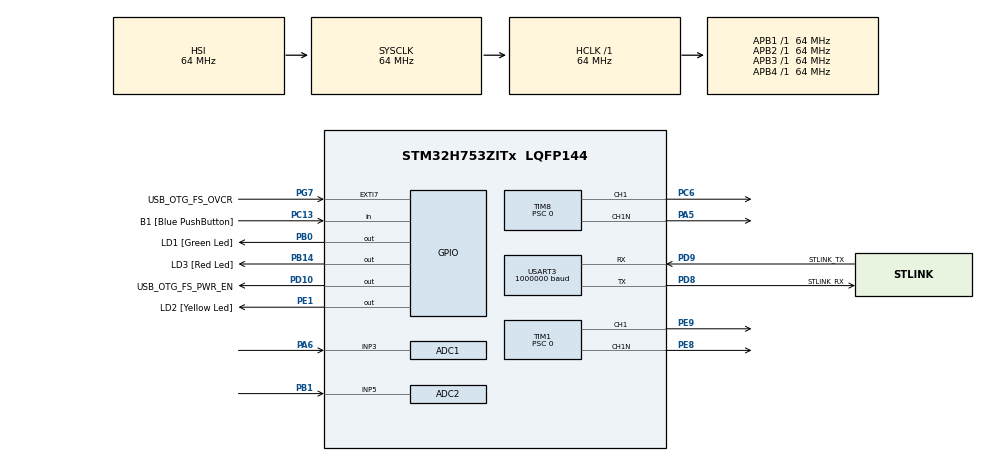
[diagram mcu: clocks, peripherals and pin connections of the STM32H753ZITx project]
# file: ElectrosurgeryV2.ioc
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ADC1.Channel-0\#ChannelRegularConversion=ADC_CHANNEL_3
ADC1.NbrOfConversion=1
ADC1.NbrOfConversionFlag=1
ADC1.OffsetNumber-0\#ChannelRegularConversion=ADC_OFFSET_NONE
ADC1.OffsetSignedSaturation-0\#ChannelRegularConversion=DISABLE
ADC1.Rank-0\#ChannelRegularConversion=1
ADC1.SamplingTime-0\#ChannelRegularConversion=ADC_SAMPLETIME_1CYCLE_5
ADC1.master=1
ADC2.Channel-1\#ChannelRegularConversion=ADC_CHANNEL_5
ADC2.NbrOfConversionFlag=1
ADC2.OffsetNumber-1\#ChannelRegularConversion=ADC_OFFSET_NONE
ADC2.OffsetSignedSaturation-1\#ChannelRegularConversion=DISABLE
ADC2.Rank-1\#ChannelRegularConversion=1
ADC2.SamplingTime-1\#ChannelRegularConversion=ADC_SAMPLETIME_1CYCLE_5
CORTEX_M7.CPU_DCache=Disabled
CORTEX_M7.CPU_ICache=Disabled
CORTEX_M7.MPU_Control=__NULL
FREERTOS.Tasks01=defaultTask,0,128,StartDefaultTask,Default,NULL,Dynamic,NULL,NULL;IdleTask,-3,128,runIdleTask,Default,NULL,Static,IdleTaskBuffer,IdleTaskControlBlock
Mcu.Family=STM32H7
Mcu.Name=STM32H753ZITx
Mcu.Package=LQFP144
NVIC.PriorityGroup=NVIC_PRIORITYGROUP_4
NVIC.TIM6_DAC_IRQn=true\:15\:0\:false\:false\:true\:false\:false\:true\:true
NVIC.TimeBase=TIM6_DAC_IRQn
NVIC.TimeBaseIP=TIM6
PA5.GPIO_PuPd=GPIO_PULLDOWN
PA5.Mode=PWM Generation1 CH1 CH1N
PA5.Signal=TIM8_CH1N
PA6.Signal=ADCx_INP3
PB0.GPIO_Label=LD1 [Green Led]
PB0.Signal=GPIO_Output
PB1.Signal=ADCx_INP5
PB14.GPIO_Label=LD3 [Red Led]
PB14.Signal=GPIO_Output
PC13.GPIO_Label=B1 [Blue PushButton]
PC13.Signal=GPIO_Input
PC14-OSC32_IN\ (OSC32_IN).Mode=LSE-External-Oscillator
PC14-OSC32_IN\ (OSC32_IN).Signal=RCC_OSC32_IN
PC15-OSC32_OUT\ (OSC32_OUT).Mode=LSE-External-Oscillator
PC15-OSC32_OUT\ (OSC32_OUT).Signal=RCC_OSC32_OUT
PC6.GPIO_PuPd=GPIO_PULLDOWN
PC6.Signal=S_TIM8_CH1
PD10.GPIO_Label=USB_OTG_FS_PWR_EN
PD10.Signal=GPIO_Output
PD8.GPIO_Label=STLINK_RX
PD8.Mode=Asynchronous
PD8.Signal=USART3_TX
PD9.GPIO_Label=STLINK_TX
PD9.Mode=Asynchronous
PD9.Signal=USART3_RX
PE1.GPIO_Label=LD2 [Yellow Led]
PE1.Signal=GPIO_Output
PE8.GPIO_PuPd=GPIO_PULLDOWN
PE8.Mode=PWM Generation1 CH1 CH1N
PE8.Signal=TIM1_CH1N
PE9.GPIO_PuPd=GPIO_PULLDOWN
PE9.Signal=S_TIM1_CH1
PG7.GPIO_Label=USB_OTG_FS_OVCR
PG7.Signal=GPXTI7
PH0-OSC_IN\ (PH0).Mode=HSE-External-Clock-Source
PH0-OSC_IN\ (PH0).Signal=RCC_OSC_IN
PH1-OSC_OUT\ (PH1).Signal=RCC_OSC_OUT
ProjectManager.HeapSize=0x200
ProjectManager.StackSize=0x400
ProjectManager.TargetToolchain=CMake
RCC.ADCFreq_Value=76000000
RCC.APB1Freq_Value=64000000
RCC.APB2Freq_Value=64000000
RCC.APB3Freq_Value=64000000
RCC.APB4Freq_Value=64000000
RCC.CortexFreq_Value=64000000
RCC.DIVM1=1
RCC.DIVM2=1
RCC.DIVN1=19
RCC.DIVN2=19
RCC.DIVQ1=3
RCC.HCLKFreq_Value=64000000
RCC.HSE_VALUE=8000000
RCC.PLL2FRACN=0
RCC.PLLFRACN=0
RCC.PLLSourceVirtual=RCC_PLLSOURCE_HSE
RCC.PWR_Regulator_Voltage_Scale=PWR_REGULATOR_VOLTAGE_SCALE2
RCC.SYSCLKFreq_VALUE=64000000
RCC.USBFreq_Value=50666666.666666664
SH.ADCx_INP3.0=ADC1_INP3,IN3-Single-Ended
SH.ADCx_INP5.0=ADC2_INP5,IN5-Single-Ended
SH.S_TIM1_CH1.0=TIM1_CH1,PWM Generation1 CH1 CH1N
SH.S_TIM8_CH1.0=TIM8_CH1,PWM Generation1 CH1 CH1N
TIM1.Channel-Output\ Compare2\ No\ Output=TIM_CHANNEL_2
TIM1.Channel-PWM\ Generation1\ CH1\ CH1N=TIM_CHANNEL_1
TIM1.DeadTime=4
TIM1.OC2Preload=DISABLE
TIM1.OCMode_2=TIM_OCMODE_ACTIVE
TIM1.Period=128
TIM1.Prescaler=0
TIM1.Pulse-Output\ Compare2\ No\ Output=16
TIM1.Pulse-PWM\ Generation1\ CH1\ CH1N=64
TIM1.TIM_MasterOutputTrigger=TIM_TRGO_OC2REF
TIM8.Channel-PWM\ Generation1\ CH1\ CH1N=TIM_CHANNEL_1
TIM8.DeadTime=4
TIM8.Period=128
TIM8.Prescaler=0
TIM8.Pulse-PWM\ Generation1\ CH1\ CH1N=64
USART3.BaudRate=1000000
USART3.VirtualMode-Asynchronous=VM_ASYNC
VP_FREERTOS_VS_CMSIS_V1.Mode=CMSIS_V1
VP_MEMORYMAP_VS_MEMORYMAP.Mode=CurAppReg
VP_SYS_VS_tim6.Mode=TIM6
VP_TIM1_VS_ClockSourceINT.Mode=Internal
VP_TIM1_VS_no_output2.Mode=Output Compare2 No Output
VP_TIM8_VS_ClockSourceINT.Mode=Internal
VP_TIM8_VS_ClockSourceITR.Mode=TriggerSource_ITR0
VP_TIM8_VS_ControllerModeTrigger.Mode=Trigger Mode
board=NUCLEO-H753ZI

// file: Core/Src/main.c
/* USER CODE BEGIN Header */
/**
  ******************************************************************************
  * @file           : main.c
  * @brief          : Main program body
  ******************************************************************************
  * @attention
  *
  * Copyright (c) 2025 STMicroelectronics.
  * All rights reserved.
  *
  * This software is licensed under terms that can be found in the LICENSE file
  * in the root directory of this software component.
  * If no LICENSE file comes with this software, it is provided AS-IS.
  *
  ******************************************************************************
  */
/* USER CODE END Header */
#include "main.h"
#include "cmsis_os.h"

/* USER CODE BEGIN Includes */
#include <stdio.h>
/* USER CODE END Includes */

ADC_HandleTypeDef hadc1;
ADC_HandleTypeDef hadc2;

TIM_HandleTypeDef htim1;
TIM_HandleTypeDef htim8;

UART_HandleTypeDef huart3;

osThreadId defaultTaskHandle;
osThreadId IdleTaskHandle;
uint32_t IdleTaskBuffer[ 128 ];
osStaticThreadDef_t IdleTaskControlBlock;

void SystemClock_Config(void);
void PeriphCommonClock_Config(void);
static void MX_GPIO_Init(void);
static void MX_TIM1_Init(void);
static void MX_TIM8_Init(void);
static void MX_ADC1_Init(void);
static void MX_ADC2_Init(void);
static void MX_USART3_UART_Init(void);
void StartDefaultTask(void const * argument);
void runIdleTask(void const * argument);

/* USER CODE BEGIN PFP */

#ifdef __GNUC__
#define PUTCHAR_PROTOTYPE int __io_putchar(int ch)
#define GETCHAR_PROTOTYPE int __io_getchar(void)
#else
#define PUTCHAR_PROTOTYPE int fputc(int ch, FILE *f)
#define GETCHAR_PROTOTYPE int fgetc(FILE *f)
#endif

PUTCHAR_PROTOTYPE
{
  HAL_UART_Transmit(&huart3, (uint8_t *)&ch, 1, HAL_MAX_DELAY);
  return ch;
}

GETCHAR_PROTOTYPE
{
  uint8_t ch = 0;

  /* Clear the Overrun flag just before receiving the first character */
  __HAL_UART_CLEAR_OREFLAG(&huart3);

  /* Wait for reception of a character on the USART RX line and echo this
   * character on console */
  HAL_UART_Receive(&huart3, (uint8_t *)&ch, 1, HAL_MAX_DELAY);
  HAL_UART_Transmit(&huart3, (uint8_t *)&ch, 1, HAL_MAX_DELAY);
  return ch;
}
/* USER CODE END PFP */

int main(void)
{

  /* MCU Configuration--------------------------------------------------------*/

  /* Reset of all peripherals, Initializes the Flash interface and the Systick. */
  HAL_Init();

  /* Configure the system clock */
  SystemClock_Config();

  /* Configure the peripherals common clocks */
  PeriphCommonClock_Config();

  /* Initialize all configured peripherals */
  MX_GPIO_Init();
  MX_TIM1_Init();
  MX_TIM8_Init();
  MX_ADC1_Init();
  MX_ADC2_Init();
  MX_USART3_UART_Init();

  /* Create the thread(s) */
  /* definition and creation of defaultTask */
  osThreadDef(defaultTask, StartDefaultTask, osPriorityNormal, 0, 128);
  defaultTaskHandle = osThreadCreate(osThread(defaultTask), NULL);

  /* definition and creation of IdleTask */
  osThreadStaticDef(IdleTask, runIdleTask, osPriorityIdle, 0, 128, IdleTaskBuffer, &IdleTaskControlBlock);
  IdleTaskHandle = osThreadCreate(osThread(IdleTask), NULL);

  /* Start scheduler */
  osKernelStart();

  /* We should never get here as control is now taken by the scheduler */

  /* Infinite loop */
  while (1)
  {

  }
}

void SystemClock_Config(void)
{
  RCC_OscInitTypeDef RCC_OscInitStruct = {0};
  RCC_ClkInitTypeDef RCC_ClkInitStruct = {0};

  /** Supply configuration update enable
  */
  HAL_PWREx_ConfigSupply(PWR_LDO_SUPPLY);

  /** Configure the main internal regulator output voltage
  */
  __HAL_PWR_VOLTAGESCALING_CONFIG(PWR_REGULATOR_VOLTAGE_SCALE2);

  while(!__HAL_PWR_GET_FLAG(PWR_FLAG_VOSRDY)) {}

  /** Macro to configure the PLL clock source
  */
  __HAL_RCC_PLL_PLLSOURCE_CONFIG(RCC_PLLSOURCE_HSE);

  /** Initializes the RCC Oscillators according to the specified parameters
  * in the RCC_OscInitTypeDef structure.
  */
  RCC_OscInitStruct.OscillatorType = RCC_OSCILLATORTYPE_HSI|RCC_OSCILLATORTYPE_HSE;
  RCC_OscInitStruct.HSEState = RCC_HSE_BYPASS;
  RCC_OscInitStruct.HSIState = RCC_HSI_DIV1;
  RCC_OscInitStruct.HSICalibrationValue = RCC_HSICALIBRATION_DEFAULT;
  RCC_OscInitStruct.PLL.PLLState = RCC_PLL_NONE;
  if (HAL_RCC_OscConfig(&RCC_OscInitStruct) != HAL_OK)
  {
    Error_Handler();
  }

  /** Initializes the CPU, AHB and APB buses clocks
  */
  RCC_ClkInitStruct.ClockType = RCC_CLOCKTYPE_HCLK|RCC_CLOCKTYPE_SYSCLK
                              |RCC_CLOCKTYPE_PCLK1|RCC_CLOCKTYPE_PCLK2
                              |RCC_CLOCKTYPE_D3PCLK1|RCC_CLOCKTYPE_D1PCLK1;
  RCC_ClkInitStruct.SYSCLKSource = RCC_SYSCLKSOURCE_HSI;
  RCC_ClkInitStruct.SYSCLKDivider = RCC_SYSCLK_DIV1;
  RCC_ClkInitStruct.AHBCLKDivider = RCC_HCLK_DIV1;
  RCC_ClkInitStruct.APB3CLKDivider = RCC_APB3_DIV1;
  RCC_ClkInitStruct.APB1CLKDivider = RCC_APB1_DIV1;
  RCC_ClkInitStruct.APB2CLKDivider = RCC_APB2_DIV1;
  RCC_ClkInitStruct.APB4CLKDivider = RCC_APB4_DIV1;

  if (HAL_RCC_ClockConfig(&RCC_ClkInitStruct, FLASH_LATENCY_1) != HAL_OK)
  {
    Error_Handler();
  }
}

void PeriphCommonClock_Config(void)
{
  RCC_PeriphCLKInitTypeDef PeriphClkInitStruct = {0};

  /** Initializes the peripherals clock
  */
  PeriphClkInitStruct.PeriphClockSelection = RCC_PERIPHCLK_ADC;
  PeriphClkInitStruct.PLL2.PLL2M = 1;
  PeriphClkInitStruct.PLL2.PLL2N = 19;
  PeriphClkInitStruct.PLL2.PLL2P = 2;
  PeriphClkInitStruct.PLL2.PLL2Q = 2;
  PeriphClkInitStruct.PLL2.PLL2R = 2;
  PeriphClkInitStruct.PLL2.PLL2RGE = RCC_PLL2VCIRANGE_3;
  PeriphClkInitStruct.PLL2.PLL2VCOSEL = RCC_PLL2VCOMEDIUM;
  PeriphClkInitStruct.PLL2.PLL2FRACN = 0;
  PeriphClkInitStruct.AdcClockSelection = RCC_ADCCLKSOURCE_PLL2;
  if (HAL_RCCEx_PeriphCLKConfig(&PeriphClkInitStruct) != HAL_OK)
  {
    Error_Handler();
  }
}

static void MX_ADC1_Init(void)
{

  ADC_MultiModeTypeDef multimode = {0};
  ADC_ChannelConfTypeDef sConfig = {0};

  /** Common config
  */
  hadc1.Instance = ADC1;
  hadc1.Init.ScanConvMode = ADC_SCAN_DISABLE;
  hadc1.Init.EOCSelection = ADC_EOC_SINGLE_CONV;
  hadc1.Init.LowPowerAutoWait = DISABLE;
  hadc1.Init.ContinuousConvMode = DISABLE;
  hadc1.Init.NbrOfConversion = 1;
  hadc1.Init.DiscontinuousConvMode = DISABLE;
  hadc1.Init.ExternalTrigConv = ADC_SOFTWARE_START;
  hadc1.Init.ExternalTrigConvEdge = ADC_EXTERNALTRIGCONVEDGE_NONE;
  hadc1.Init.ConversionDataManagement = ADC_CONVERSIONDATA_DR;
  hadc1.Init.Overrun = ADC_OVR_DATA_PRESERVED;
  hadc1.Init.LeftBitShift = ADC_LEFTBITSHIFT_NONE;
  hadc1.Init.OversamplingMode = DISABLE;
  hadc1.Init.Oversampling.Ratio = 1;
  if (HAL_ADC_Init(&hadc1) != HAL_OK)
  {
    Error_Handler();
  }
  hadc1.Init.ClockPrescaler = ADC_CLOCK_ASYNC_DIV2;
  hadc1.Init.Resolution = ADC_RESOLUTION_16B;
  if (HAL_ADC_Init(&hadc1) != HAL_OK)
  {
    Error_Handler();
  }

  /** Configure the ADC multi-mode
  */
  multimode.Mode = ADC_MODE_INDEPENDENT;
  if (HAL_ADCEx_MultiModeConfigChannel(&hadc1, &multimode) != HAL_OK)
  {
    Error_Handler();
  }

  /** Configure Regular Channel
  */
  sConfig.Channel = ADC_CHANNEL_3;
  sConfig.Rank = ADC_REGULAR_RANK_1;
  sConfig.SamplingTime = ADC_SAMPLETIME_1CYCLE_5;
  sConfig.SingleDiff = ADC_SINGLE_ENDED;
  sConfig.OffsetNumber = ADC_OFFSET_NONE;
  sConfig.Offset = 0;
  sConfig.OffsetSignedSaturation = DISABLE;
  if (HAL_ADC_ConfigChannel(&hadc1, &sConfig) != HAL_OK)
  {
    Error_Handler();
  }

}

static void MX_ADC2_Init(void)
{

  ADC_ChannelConfTypeDef sConfig = {0};

  /** Common config
  */
  hadc2.Instance = ADC2;
  hadc2.Init.ScanConvMode = ADC_SCAN_DISABLE;
  hadc2.Init.EOCSelection = ADC_EOC_SINGLE_CONV;
  hadc2.Init.LowPowerAutoWait = DISABLE;
  hadc2.Init.ContinuousConvMode = DISABLE;
  hadc2.Init.NbrOfConversion = 1;
  hadc2.Init.DiscontinuousConvMode = DISABLE;
  hadc2.Init.ExternalTrigConv = ADC_SOFTWARE_START;
  hadc2.Init.ExternalTrigConvEdge = ADC_EXTERNALTRIGCONVEDGE_NONE;
  hadc2.Init.ConversionDataManagement = ADC_CONVERSIONDATA_DR;
  hadc2.Init.Overrun = ADC_OVR_DATA_PRESERVED;
  hadc2.Init.LeftBitShift = ADC_LEFTBITSHIFT_NONE;
  hadc2.Init.OversamplingMode = DISABLE;
  hadc2.Init.Oversampling.Ratio = 1;
  if (HAL_ADC_Init(&hadc2) != HAL_OK)
  {
    Error_Handler();
  }
  hadc2.Init.ClockPrescaler = ADC_CLOCK_ASYNC_DIV2;
  hadc2.Init.Resolution = ADC_RESOLUTION_16B;
  if (HAL_ADC_Init(&hadc2) != HAL_OK)
  {
    Error_Handler();
  }

  /** Configure Regular Channel
  */
  sConfig.Channel = ADC_CHANNEL_5;
  sConfig.Rank = ADC_REGULAR_RANK_1;
  sConfig.SamplingTime = ADC_SAMPLETIME_1CYCLE_5;
  sConfig.SingleDiff = ADC_SINGLE_ENDED;
  sConfig.OffsetNumber = ADC_OFFSET_NONE;
  sConfig.Offset = 0;
  sConfig.OffsetSignedSaturation = DISABLE;
  if (HAL_ADC_ConfigChannel(&hadc2, &sConfig) != HAL_OK)
  {
    Error_Handler();
  }

}

static void MX_TIM1_Init(void)
{

  TIM_ClockConfigTypeDef sClockSourceConfig = {0};
  TIM_MasterConfigTypeDef sMasterConfig = {0};
  TIM_OC_InitTypeDef sConfigOC = {0};
  TIM_BreakDeadTimeConfigTypeDef sBreakDeadTimeConfig = {0};

  htim1.Instance = TIM1;
  htim1.Init.Prescaler = 0;
  htim1.Init.CounterMode = TIM_COUNTERMODE_UP;
  htim1.Init.Period = 128;
  htim1.Init.ClockDivision = TIM_CLOCKDIVISION_DIV1;
  htim1.Init.RepetitionCounter = 0;
  htim1.Init.AutoReloadPreload = TIM_AUTORELOAD_PRELOAD_DISABLE;
  if (HAL_TIM_Base_Init(&htim1) != HAL_OK)
  {
    Error_Handler();
  }
  sClockSourceConfig.ClockSource = TIM_CLOCKSOURCE_INTERNAL;
  if (HAL_TIM_ConfigClockSource(&htim1, &sClockSourceConfig) != HAL_OK)
  {
    Error_Handler();
  }
  if (HAL_TIM_PWM_Init(&htim1) != HAL_OK)
  {
    Error_Handler();
  }
  if (HAL_TIM_OC_Init(&htim1) != HAL_OK)
  {
    Error_Handler();
  }
  sMasterConfig.MasterOutputTrigger = TIM_TRGO_OC2REF;
  sMasterConfig.MasterOutputTrigger2 = TIM_TRGO2_RESET;
  sMasterConfig.MasterSlaveMode = TIM_MASTERSLAVEMODE_DISABLE;
  if (HAL_TIMEx_MasterConfigSynchronization(&htim1, &sMasterConfig) != HAL_OK)
  {
    Error_Handler();
  }
  sConfigOC.OCMode = TIM_OCMODE_PWM1;
  sConfigOC.Pulse = 64;
  sConfigOC.OCPolarity = TIM_OCPOLARITY_HIGH;
  sConfigOC.OCNPolarity = TIM_OCNPOLARITY_HIGH;
  sConfigOC.OCFastMode = TIM_OCFAST_DISABLE;
  sConfigOC.OCIdleState = TIM_OCIDLESTATE_RESET;
  sConfigOC.OCNIdleState = TIM_OCNIDLESTATE_RESET;
  if (HAL_TIM_PWM_ConfigChannel(&htim1, &sConfigOC, TIM_CHANNEL_1) != HAL_OK)
  {
    Error_Handler();
  }
  sConfigOC.OCMode = TIM_OCMODE_ACTIVE;
  sConfigOC.Pulse = 16;
  if (HAL_TIM_OC_ConfigChannel(&htim1, &sConfigOC, TIM_CHANNEL_2) != HAL_OK)
  {
    Error_Handler();
  }
  sBreakDeadTimeConfig.OffStateRunMode = TIM_OSSR_DISABLE;
  sBreakDeadTimeConfig.OffStateIDLEMode = TIM_OSSI_DISABLE;
  sBreakDeadTimeConfig.LockLevel = TIM_LOCKLEVEL_OFF;
  sBreakDeadTimeConfig.DeadTime = 4;
  sBreakDeadTimeConfig.BreakState = TIM_BREAK_DISABLE;
  sBreakDeadTimeConfig.BreakPolarity = TIM_BREAKPOLARITY_HIGH;
  sBreakDeadTimeConfig.BreakFilter = 0;
  sBreakDeadTimeConfig.Break2State = TIM_BREAK2_DISABLE;
  sBreakDeadTimeConfig.Break2Polarity = TIM_BREAK2POLARITY_HIGH;
  sBreakDeadTimeConfig.Break2Filter = 0;
  sBreakDeadTimeConfig.AutomaticOutput = TIM_AUTOMATICOUTPUT_DISABLE;
  if (HAL_TIMEx_ConfigBreakDeadTime(&htim1, &sBreakDeadTimeConfig) != HAL_OK)
  {
    Error_Handler();
  }
  HAL_TIM_MspPostInit(&htim1);

}

static void MX_TIM8_Init(void)
{

  TIM_ClockConfigTypeDef sClockSourceConfig = {0};
  TIM_SlaveConfigTypeDef sSlaveConfig = {0};
  TIM_MasterConfigTypeDef sMasterConfig = {0};
  TIM_OC_InitTypeDef sConfigOC = {0};
  TIM_BreakDeadTimeConfigTypeDef sBreakDeadTimeConfig = {0};

  htim8.Instance = TIM8;
  htim8.Init.Prescaler = 0;
  htim8.Init.CounterMode = TIM_COUNTERMODE_UP;
  htim8.Init.Period = 128;
  htim8.Init.ClockDivision = TIM_CLOCKDIVISION_DIV1;
  htim8.Init.RepetitionCounter = 0;
  htim8.Init.AutoReloadPreload = TIM_AUTORELOAD_PRELOAD_DISABLE;
  if (HAL_TIM_Base_Init(&htim8) != HAL_OK)
  {
    Error_Handler();
  }
  sClockSourceConfig.ClockSource = TIM_CLOCKSOURCE_INTERNAL;
  if (HAL_TIM_ConfigClockSource(&htim8, &sClockSourceConfig) != HAL_OK)
  {
    Error_Handler();
  }
  if (HAL_TIM_PWM_Init(&htim8) != HAL_OK)
  {
    Error_Handler();
  }
  sSlaveConfig.SlaveMode = TIM_SLAVEMODE_TRIGGER;
  sSlaveConfig.InputTrigger = TIM_TS_ITR0;
  if (HAL_TIM_SlaveConfigSynchro(&htim8, &sSlaveConfig) != HAL_OK)
  {
    Error_Handler();
  }
  sMasterConfig.MasterOutputTrigger = TIM_TRGO_RESET;
  sMasterConfig.MasterOutputTrigger2 = TIM_TRGO2_RESET;
  sMasterConfig.MasterSlaveMode = TIM_MASTERSLAVEMODE_DISABLE;
  if (HAL_TIMEx_MasterConfigSynchronization(&htim8, &sMasterConfig) != HAL_OK)
  {
    Error_Handler();
  }
  sConfigOC.OCMode = TIM_OCMODE_PWM1;
  sConfigOC.Pulse = 64;
  sConfigOC.OCPolarity = TIM_OCPOLARITY_HIGH;
  sConfigOC.OCNPolarity = TIM_OCNPOLARITY_HIGH;
  sConfigOC.OCFastMode = TIM_OCFAST_DISABLE;
  sConfigOC.OCIdleState = TIM_OCIDLESTATE_RESET;
  sConfigOC.OCNIdleState = TIM_OCNIDLESTATE_RESET;
  if (HAL_TIM_PWM_ConfigChannel(&htim8, &sConfigOC, TIM_CHANNEL_1) != HAL_OK)
  {
    Error_Handler();
  }
  sBreakDeadTimeConfig.OffStateRunMode = TIM_OSSR_DISABLE;
  sBreakDeadTimeConfig.OffStateIDLEMode = TIM_OSSI_DISABLE;
  sBreakDeadTimeConfig.LockLevel = TIM_LOCKLEVEL_OFF;
  sBreakDeadTimeConfig.DeadTime = 4;
  sBreakDeadTimeConfig.BreakState = TIM_BREAK_DISABLE;
  sBreakDeadTimeConfig.BreakPolarity = TIM_BREAKPOLARITY_HIGH;
  sBreakDeadTimeConfig.BreakFilter = 0;
  sBreakDeadTimeConfig.Break2State = TIM_BREAK2_DISABLE;
  sBreakDeadTimeConfig.Break2Polarity = TIM_BREAK2POLARITY_HIGH;
  sBreakDeadTimeConfig.Break2Filter = 0;
  sBreakDeadTimeConfig.AutomaticOutput = TIM_AUTOMATICOUTPUT_DISABLE;
  if (HAL_TIMEx_ConfigBreakDeadTime(&htim8, &sBreakDeadTimeConfig) != HAL_OK)
  {
    Error_Handler();
  }
  HAL_TIM_MspPostInit(&htim8);

}

static void MX_USART3_UART_Init(void)
{

  huart3.Instance = USART3;
  huart3.Init.BaudRate = 1000000;
  huart3.Init.WordLength = UART_WORDLENGTH_8B;
  huart3.Init.StopBits = UART_STOPBITS_1;
  huart3.Init.Parity = UART_PARITY_NONE;
  huart3.Init.Mode = UART_MODE_TX_RX;
  huart3.Init.HwFlowCtl = UART_HWCONTROL_NONE;
  huart3.Init.OverSampling = UART_OVERSAMPLING_16;
  huart3.Init.OneBitSampling = UART_ONE_BIT_SAMPLE_DISABLE;
  huart3.Init.ClockPrescaler = UART_PRESCALER_DIV1;
  huart3.AdvancedInit.AdvFeatureInit = UART_ADVFEATURE_NO_INIT;
  if (HAL_UART_Init(&huart3) != HAL_OK)
  {
    Error_Handler();
  }
  if (HAL_UARTEx_SetTxFifoThreshold(&huart3, UART_TXFIFO_THRESHOLD_1_8) != HAL_OK)
  {
    Error_Handler();
  }
  if (HAL_UARTEx_SetRxFifoThreshold(&huart3, UART_RXFIFO_THRESHOLD_1_8) != HAL_OK)
  {
    Error_Handler();
  }
  if (HAL_UARTEx_DisableFifoMode(&huart3) != HAL_OK)
  {
    Error_Handler();
  }

}

static void MX_GPIO_Init(void)
{
  GPIO_InitTypeDef GPIO_InitStruct = {0};

  /* GPIO Ports Clock Enable */
  __HAL_RCC_GPIOC_CLK_ENABLE();
  __HAL_RCC_GPIOH_CLK_ENABLE();
  __HAL_RCC_GPIOA_CLK_ENABLE();
  __HAL_RCC_GPIOB_CLK_ENABLE();
  __HAL_RCC_GPIOE_CLK_ENABLE();
  __HAL_RCC_GPIOD_CLK_ENABLE();
  __HAL_RCC_GPIOG_CLK_ENABLE();

  /*Configure GPIO pin Output Level */
  HAL_GPIO_WritePin(GPIOB, LD1_Pin|LD3_Pin, GPIO_PIN_RESET);

  /*Configure GPIO pin Output Level */
  HAL_GPIO_WritePin(USB_OTG_FS_PWR_EN_GPIO_Port, USB_OTG_FS_PWR_EN_Pin, GPIO_PIN_RESET);

  /*Configure GPIO pin Output Level */
  HAL_GPIO_WritePin(LD2_GPIO_Port, LD2_Pin, GPIO_PIN_RESET);

  /*Configure GPIO pin : B1_Pin */
  GPIO_InitStruct.Pin = B1_Pin;
  GPIO_InitStruct.Mode = GPIO_MODE_INPUT;
  GPIO_InitStruct.Pull = GPIO_NOPULL;
  HAL_GPIO_Init(B1_GPIO_Port, &GPIO_InitStruct);

  /*Configure GPIO pins : LD1_Pin LD3_Pin */
  GPIO_InitStruct.Pin = LD1_Pin|LD3_Pin;
  GPIO_InitStruct.Mode = GPIO_MODE_OUTPUT_PP;
  GPIO_InitStruct.Pull = GPIO_NOPULL;
  GPIO_InitStruct.Speed = GPIO_SPEED_FREQ_LOW;
  HAL_GPIO_Init(GPIOB, &GPIO_InitStruct);

  /*Configure GPIO pin : USB_OTG_FS_PWR_EN_Pin */
  GPIO_InitStruct.Pin = USB_OTG_FS_PWR_EN_Pin;
  GPIO_InitStruct.Mode = GPIO_MODE_OUTPUT_PP;
  GPIO_InitStruct.Pull = GPIO_NOPULL;
  GPIO_InitStruct.Speed = GPIO_SPEED_FREQ_LOW;
  HAL_GPIO_Init(USB_OTG_FS_PWR_EN_GPIO_Port, &GPIO_InitStruct);

  /*Configure GPIO pin : USB_OTG_FS_OVCR_Pin */
  GPIO_InitStruct.Pin = USB_OTG_FS_OVCR_Pin;
  GPIO_InitStruct.Mode = GPIO_MODE_IT_RISING;
  GPIO_InitStruct.Pull = GPIO_NOPULL;
  HAL_GPIO_Init(USB_OTG_FS_OVCR_GPIO_Port, &GPIO_InitStruct);

  /*Configure GPIO pin : LD2_Pin */
  GPIO_InitStruct.Pin = LD2_Pin;
  GPIO_InitStruct.Mode = GPIO_MODE_OUTPUT_PP;
  GPIO_InitStruct.Pull = GPIO_NOPULL;
  GPIO_InitStruct.Speed = GPIO_SPEED_FREQ_LOW;
  HAL_GPIO_Init(LD2_GPIO_Port, &GPIO_InitStruct);

}

void StartDefaultTask(void const * argument)
{
  for(;;)
  {
    osDelay(1);
  }
}

void runIdleTask(void const * argument)
{
  /* USER CODE BEGIN runIdleTask */

  printf("Hello World");

  HAL_TIM_PWM_Start(&htim1, TIM_CHANNEL_1);
  HAL_TIMEx_PWMN_Start(&htim1, TIM_CHANNEL_1);
  HAL_TIM_OC_Start(&htim1, TIM_CHANNEL_2);
  HAL_TIM_PWM_Start(&htim8, TIM_CHANNEL_1);
  HAL_TIMEx_PWMN_Start(&htim8, TIM_CHANNEL_1);

  //__HAL_TIM_SET_COMPARE(&htim1, TIM_CHANNEL_2, 100);

  /* Infinite loop */
  for(;;)
  {

    //__HAL_TIM_SET_COMPARE(&htim1, TIM_CHANNEL_2, 100);

    HAL_GPIO_WritePin(LD1_GPIO_Port, LD1_Pin, 1);

    //__HAL_TIM_SET_COMPARE(&htim1, TIM_CHANNEL_2, 100);

    vTaskDelay(10);

    printf("Hello World\n");

    //TIM1->CNT = 0;

    //TIM1->CCR2 = 100;

    //TIM1->CNT = 200;

    // HAL_TIM_OC_Stop(&htim1, TIM_CHANNEL_2);
    // HAL_TIM_PWM_Stop(&htim8, TIM_CHANNEL_1);
    // HAL_TIMEx_PWMN_Stop(&htim8, TIM_CHANNEL_1);

    //__HAL_TIM_SET_COMPARE(&htim1, TIM_CHANNEL_2, 100);
    //__HAL_TIM_GENERATE_EVENT(&htim1, TIM_EVENTSOURCE_UPDATE);

    // HAL_TIM_OC_Start(&htim1, TIM_CHANNEL_2);
    // HAL_TIM_PWM_Start(&htim8, TIM_CHANNEL_1);
    // HAL_TIMEx_PWMN_Start(&htim8, TIM_CHANNEL_1);

    static uint32_t offset = 0;
    __HAL_TIM_SET_COMPARE(&htim1, TIM_CHANNEL_2, offset);
    TIM1->CNT = offset;
    offset += 1;
    if (offset > 128) {
      offset = 0;
    }

    //__HAL_TIM_SET_COMPARE(&htim1, TIM_CHANNEL_2, 300);

    HAL_GPIO_WritePin(LD1_GPIO_Port, LD1_Pin, 0);

    vTaskDelay(10);

    //TIM1->CNT = 200;

    osDelay(1);
  }
  /* USER CODE END runIdleTask */
}

void HAL_TIM_PeriodElapsedCallback(TIM_HandleTypeDef *htim)
{
  if (htim->Instance == TIM6) {
    HAL_IncTick();
  }
  /* USER CODE BEGIN Callback 1 */
  if (htim->Instance == TIM1) {
    static uint32_t offset = 0;
    __HAL_TIM_SET_COMPARE(&htim1, TIM_CHANNEL_2, offset);
    offset += 10;
    if (offset > 1000) {
      offset = 0;
    }
  }
  /* USER CODE END Callback 1 */
}

void Error_Handler(void)
{
  __disable_irq();
  while (1)
  {
  }
}
